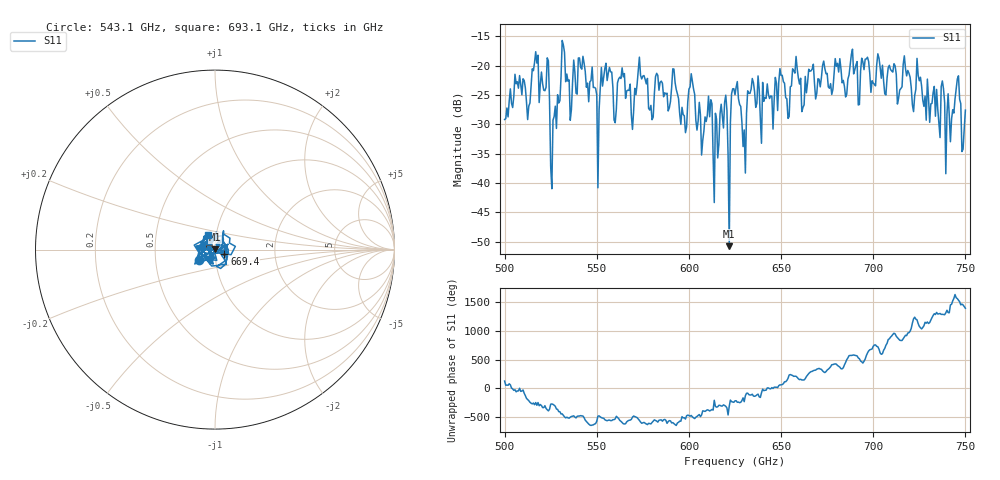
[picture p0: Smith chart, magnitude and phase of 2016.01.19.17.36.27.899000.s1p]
!Created with skrf (http://scikit-rf.org).
# GHz S RI R 50.0
!freq ReS11 ImS11
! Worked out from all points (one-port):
!   401 points, 500 GHz to 750 GHz, reference 50 ohm
!   lowest |S11| = -50.8 dB at 621.9 GHz (marker M1), VSWR 1.01, Z = 50.2 + j0.232 ohm
!   |S11| at or under -10 dB: start of sweep to end of sweep
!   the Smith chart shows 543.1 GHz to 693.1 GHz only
!   S11 on the Smith chart (normalised r, x): 543.1 GHz: 0.84, -0.10; 669.4 GHz: 1.11, -0.06; 693.1 GHz: 0.91, +0.15
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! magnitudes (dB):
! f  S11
! 500 GHz  -29.2
! 506.9 GHz  -22.7
! 513.1 GHz  -26.9
! 516.9 GHz  -17.6
! 523.1 GHz  -18.7
! 526.2 GHz  -29.3
! 531.2 GHz  -15.7
! 535.6 GHz  -29.3
! 543.1 GHz  -19.6
! 550 GHz  -25.0
! 553.8 GHz  -22.0
! 560 GHz  -29.7
! 562.5 GHz  -22.0
! 593.8 GHz  -24.8
! 608.1 GHz  -31.1
! 611.2 GHz  -28.7
! 614.4 GHz  -28.1
! 618.8 GHz  -30.6
! 621.9 GHz  -50.8
! 625 GHz  -25.0
! 630 GHz  -31.0
! 633.8 GHz  -24.0
! 656.2 GHz  -20.5
! 669.4 GHz  -24.7
! 687.5 GHz  -19.8
! 693.1 GHz  -21.0
! 718.8 GHz  -20.8
! 750 GHz  -27.6
